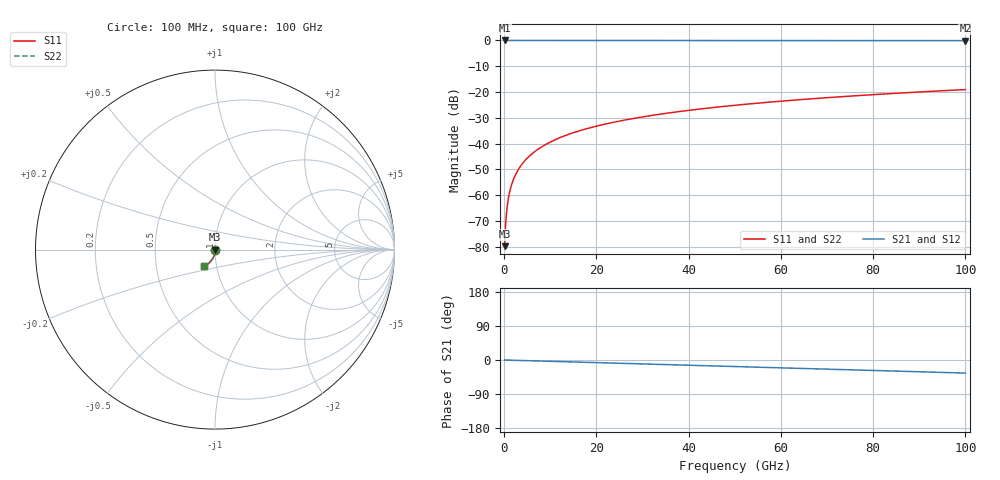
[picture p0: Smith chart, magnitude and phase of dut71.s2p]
! Touchstone file exported from HFSS 2026.1.0
!  File:  C:/ffzhzh/LocalFiles/Ansys_Project_Files/temp_train_TSV_71_1783505265_44152.aedt
!  Generated:  06:08:59 PM Jul  8, 2026
!  Design:  TSV
!  Project:  temp_train_TSV_71_1783505265_44152
! Variables:
!  h_bsmrdl = 2um
!  h_ox = 20um
!  h_rdl = 5um
!  h_sub = 67um
!  h_tmrdl = 5um
!  h_tsv = 67um
!  h_via = 3um
!  l_bsmrdl = 300um
!  l_sub = 427.36um
!  l_tmrdl = 200um
!  m_sub = 200um
!  pitch = 45.93um
!  r_tsv = 13.68um
!  s_tmrdl = 10um
!  w_bsmrdl = 18um
!  w_sub = 500um
!  w_tmrdl = 12um
!  x_tsv_center1 = 206um
!  x_tsv_center2 = 524um
!  x_tsv_center3 = 736um
!  x_tsv_center4 = 1054um
!  x_tsv_center5 = 1266um
!  x_tsv_center6 = 1584um
# GHz S MA R 50.000000
! Terminal data exported
! Port[1] = TSV1_1_T1
! Port[2] = TSV1_1_T2
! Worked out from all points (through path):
!   1000 points, 100 MHz to 100 GHz, reference 50 ohm
!   highest |S21| = 0.00 dB at 100 MHz (marker M1); lowest = -0.1 dB at 100 GHz (marker M2)
!   group delay of S21, straight-line fit = 957 fs
!   lowest |S11| = -79.7 dB at 100 MHz (marker M3), VSWR 1.00, Z = 50 - j0.00725 ohm
!   |S11| at or under -10 dB: start of sweep to end of sweep
!   |S22| runs from -79.7 to -19.0 dB; largest |S21 - S12| = 5.6e-15
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0.1  0.000103 -44.7  0.9999 -0.0  0.9999 -0.0  0.000103 -44.7
! Gamma 0 0 0 0
! Port Impedance 50 0 50 0
0.4  0.0003462 -69.2  0.9999 -0.1  0.9999 -0.1  0.0003462 -69.2
0.7  0.0006433 -74.6  0.9998 -0.2  0.9998 -0.2  0.0006433 -74.6
0.8  0.000746 -75.8  0.9998 -0.3  0.9998 -0.3  0.000746 -75.8
1.1  0.001057 -78.4  0.9998 -0.4  0.9998 -0.4  0.001057 -78.4
1.4  0.00137 -80.2  0.9998 -0.5  0.9998 -0.5  0.00137 -80.2
1.8  0.00179 -81.8  0.9997 -0.6  0.9997 -0.6  0.00179 -81.8
2.4  0.002425 -83.3  0.9997 -0.8  0.9997 -0.8  0.002425 -83.3
3  0.003066 -84.4  0.9996 -1.0  0.9996 -1.0  0.003066 -84.4
3.8  0.00393 -85.4  0.9996 -1.3  0.9996 -1.3  0.00393 -85.4
4.8  0.005017 -86.5  0.9995 -1.7  0.9995 -1.7  0.005017 -86.5
5.9  0.006219 -87.4  0.9995 -2.1  0.9995 -2.1  0.006219 -87.4
8.7  0.009293 -89.2  0.9993 -3.0  0.9993 -3.0  0.009293 -89.2
12.3  0.01327 -91.1  0.9992 -4.3  0.9992 -4.3  0.01327 -91.1
16.8  0.01827 -93.1  0.999 -5.8  0.999 -5.8  0.01827 -93.1
24.1  0.02639 -96.1  0.9986 -8.3  0.9986 -8.3  0.02639 -96.1
33.4  0.03678 -99.6  0.9981 -11.5  0.9981 -11.5  0.03678 -99.6
41.2  0.04551 -102.5  0.9976 -14.2  0.9976 -14.2  0.04551 -102.5
50.1  0.05548 -105.7  0.9969 -17.3  0.9969 -17.3  0.05548 -105.7
66.7  0.0741 -111.7  0.9954 -23.0  0.9954 -23.0  0.0741 -111.7
83.4  0.0929 -117.7  0.9936 -28.7  0.9936 -28.7  0.0929 -117.7
100  0.1117 -123.6  0.9913 -34.5  0.9913 -34.5  0.1117 -123.6
